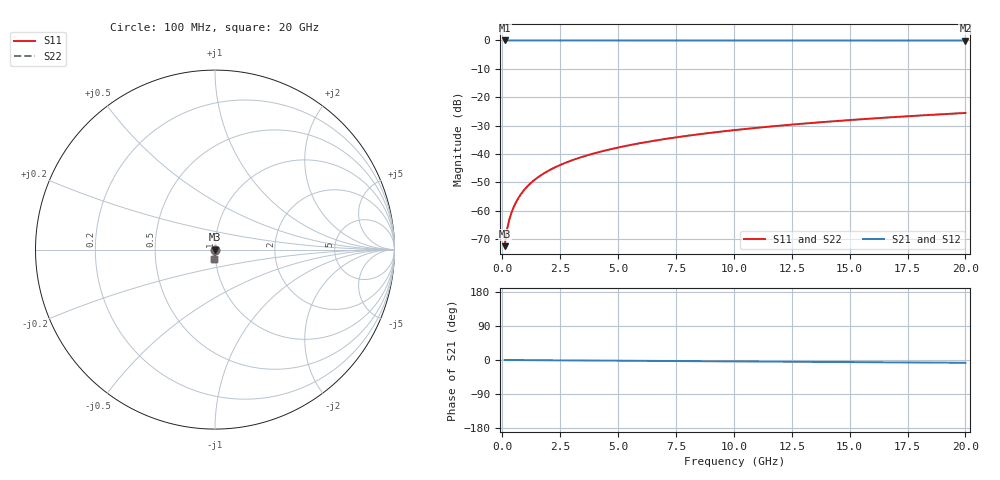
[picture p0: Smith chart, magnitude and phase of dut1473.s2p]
! Touchstone file exported from HFSS 2026.1.0
!  File:  C:/ffzhzh/LocalFiles/Ansys_Project_Files/temp_train_TSV_1473_1783198400_55132.aedt
!  Generated:  04:54:33 AM Jul  5, 2026
!  Design:  TSV
!  Project:  temp_train_TSV_1473_1783198400_55132
! Variables:
!  h_bsmrdl = 2um
!  h_ox = 20um
!  h_rdl = 5um
!  h_sub = 69.72um
!  h_tmrdl = 5um
!  h_tsv = 69.72um
!  h_via = 3um
!  l_bsmrdl = 300um
!  l_sub = 426.22um
!  l_tmrdl = 200um
!  m_sub = 200um
!  pitch = 36.78um
!  r_tsv = 13.11um
!  s_tmrdl = 10um
!  w_bsmrdl = 18um
!  w_sub = 500um
!  w_tmrdl = 12um
!  x_tsv_center1 = 206um
!  x_tsv_center2 = 524um
!  x_tsv_center3 = 736um
!  x_tsv_center4 = 1054um
!  x_tsv_center5 = 1266um
!  x_tsv_center6 = 1584um
# GHz S MA R 50.000000
! Terminal data exported
! Port[1] = TSV1_1_T1
! Port[2] = TSV1_1_T2
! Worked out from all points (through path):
!   200 points, 100 MHz to 20 GHz, reference 50 ohm
!   highest |S21| = 0.00 dB at 100 MHz (marker M1); lowest = 0.0 dB at 20 GHz (marker M2)
!   group delay of S21, straight-line fit = 1.03 ps
!   lowest |S11| = -72.5 dB at 100 MHz (marker M3), VSWR 1.00, Z = 50 - j0.0222 ohm
!   |S11| at or under -10 dB: start of sweep to end of sweep
!   |S22| runs from -72.5 to -25.5 dB; largest |S21 - S12| = 1.2e-15
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0.1  0.0002374 -69.2  0.9999 -0.0  0.9999 -0.0  0.0002374 -69.2
! Gamma 0 0 0 0
! Port Impedance 50 0 50 0
0.2  0.0004585 -77.6  0.9999 -0.1  0.9999 -0.1  0.0004585 -77.6
0.3  0.0006904 -80.2  0.9999 -0.1  0.9999 -0.1  0.0006904 -80.2
0.4  0.0009308 -81.3  0.9999 -0.2  0.9999 -0.2  0.0009308 -81.3
0.5  0.001178 -82.0  0.9998 -0.2  0.9998 -0.2  0.001178 -82.0
0.7  0.001687 -83.0  0.9998 -0.3  0.9998 -0.3  0.001687 -83.0
0.8  0.001946 -83.5  0.9998 -0.3  0.9998 -0.3  0.001946 -83.5
1  0.002468 -84.3  0.9997 -0.4  0.9997 -0.4  0.002468 -84.3
1.2  0.002992 -84.9  0.9997 -0.5  0.9997 -0.5  0.002992 -84.9
1.4  0.003517 -85.5  0.9997 -0.5  0.9997 -0.5  0.003517 -85.5
1.7  0.004303 -86.2  0.9997 -0.6  0.9997 -0.6  0.004303 -86.2
2  0.00509 -86.8  0.9996 -0.8  0.9996 -0.8  0.00509 -86.8
2.7  0.006925 -87.7  0.9996 -1.0  0.9996 -1.0  0.006925 -87.7
3.5  0.009025 -88.5  0.9995 -1.3  0.9995 -1.3  0.009025 -88.5
4.2  0.01087 -89.0  0.9994 -1.6  0.9994 -1.6  0.01087 -89.0
5  0.01298 -89.5  0.9994 -1.9  0.9994 -1.9  0.01298 -89.5
6.8  0.01775 -90.5  0.9992 -2.5  0.9992 -2.5  0.01775 -90.5
8.3  0.02173 -91.2  0.9991 -3.1  0.9991 -3.1  0.02173 -91.2
10.1  0.02652 -92.1  0.9989 -3.7  0.9989 -3.7  0.02652 -92.1
13.4  0.0353 -93.5  0.9985 -5.0  0.9985 -5.0  0.0353 -93.5
16.7  0.04407 -94.9  0.998 -6.2  0.998 -6.2  0.04407 -94.9
20  0.05283 -96.2  0.9975 -7.4  0.9975 -7.4  0.05283 -96.2
